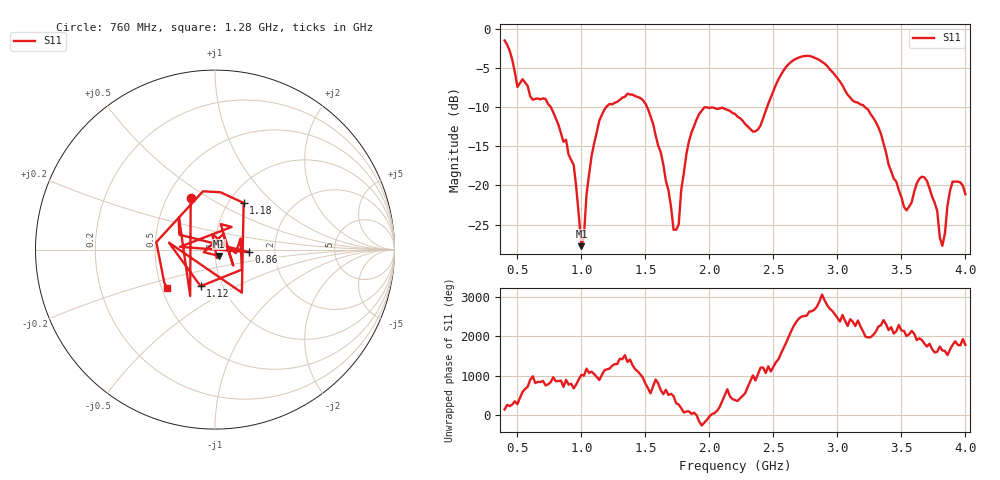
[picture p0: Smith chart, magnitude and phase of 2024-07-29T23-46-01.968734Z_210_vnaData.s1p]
!Created with skrf (http://scikit-rf.org).
# Hz S RI R 50.0
!freq ReS11 ImS11
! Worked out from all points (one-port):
!   181 points, 400 MHz to 4 GHz, reference 50 ohm
!   lowest |S11| = -27.8 dB at 1 GHz (marker M1), VSWR 1.09, Z = 52 - j3.65 ohm
!   |S11| at or under -10 dB: 761.3 MHz to 1.194 GHz (432.8 MHz wide, 44.3 % of centre); 1.513 GHz to 2.45 GHz (937 MHz wide, 47.3 % of centre); 3.216 GHz to end of sweep
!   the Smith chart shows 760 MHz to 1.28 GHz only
!   S11 on the Smith chart (normalised r, x): 760 MHz: 0.66, +0.42; 860 MHz: 1.47, -0.04; 1.12 GHz: 0.79, -0.34; 1.18 GHz: 1.17, +0.67; 1.28 GHz: 0.53, -0.26
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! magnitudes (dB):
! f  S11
! 400 MHz  -1.5
! 500 MHz  -7.4
! 760 MHz  -10.0
! 860 MHz  -14.4
! 940 MHz  -17.4
! 1 GHz  -27.8
! 1.12 GHz  -13.2
! 1.18 GHz  -10.3
! 1.28 GHz  -9.3
! 1.3 GHz  -9.1
! 1.52 GHz  -10.2
! 1.62 GHz  -15.8
! 1.72 GHz  -25.7
! 1.76 GHz  -25.0
! 1.82 GHz  -16.0
! 1.92 GHz  -10.9
! 2.2 GHz  -10.9
! 2.38 GHz  -12.8
! 2.66 GHz  -4.0
! 2.86 GHz  -4.0
! 3.1 GHz  -8.8
! 3.3 GHz  -11.9
! 3.56 GHz  -22.7
! 3.68 GHz  -19.0
! 3.78 GHz  -23.3
! 3.82 GHz  -27.7
! 3.9 GHz  -19.5
! 4 GHz  -21.1
